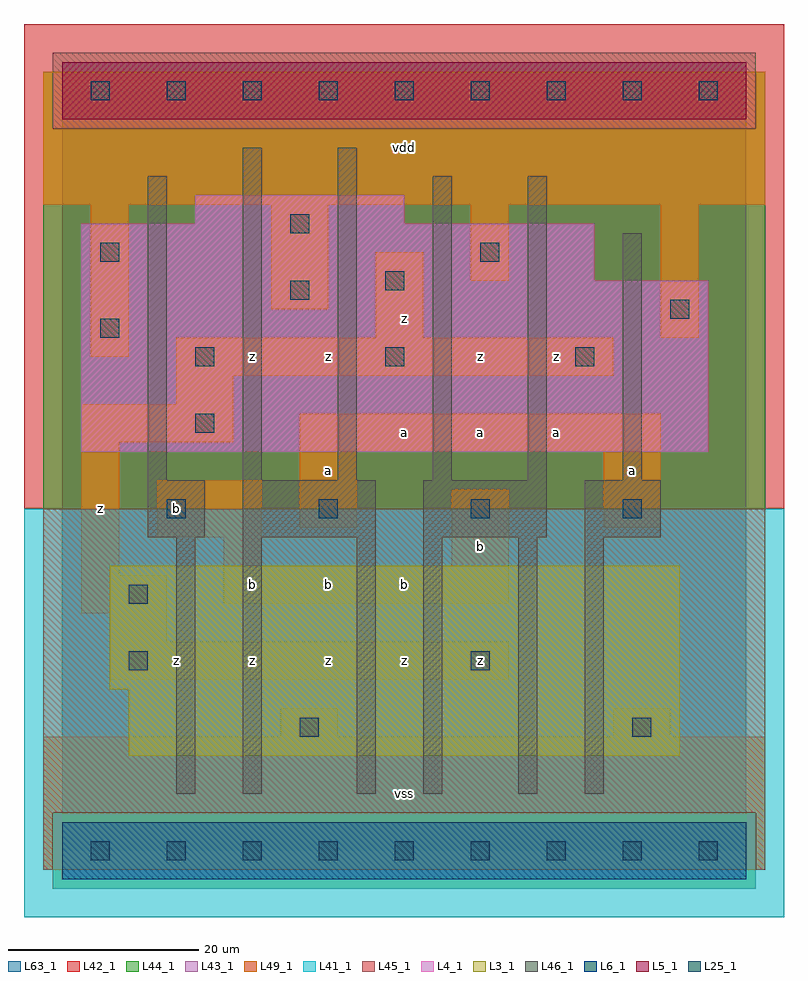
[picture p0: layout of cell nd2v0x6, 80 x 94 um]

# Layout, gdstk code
import gdstk
lib = gdstk.Library(unit=1e-6, precision=1e-09)
def R(c, l, rs):  # rectangles x0, y0, x1, y1
    for r in rs: c.add(gdstk.rectangle(r[:2], r[2:], *l))
def A(c, l, x, y, w, h, nx, ny, dx, dy):  # array of equal rectangles
    R(c, l, [(x+i*dx, y+j*dy, x+i*dx+w, y+j*dy+h) for i in range(nx) for j in range(ny)])
L3_1 = (3, 1)
L4_1 = (4, 1)
L5_1 = (5, 1)
L6_1 = (6, 1)
L25_1 = (25, 1)
L41_1 = (41, 1)
L42_1 = (42, 1)
L43_1 = (43, 1)
L44_1 = (44, 1)
L45_1 = (45, 1)
L46_1 = (46, 1)
L49_1 = (49, 1)
L63_1 = (63, 1)

nd2v0x6 = lib.new_cell('nd2v0x6')
R(nd2v0x6, L3_1, [(7,10,65,17), (5,17,65,30)])
R(nd2v0x6, L4_1, [(2,42,68,60), (2,60,56,66), (14,66,36,69)])
R(nd2v0x6, L5_1, [(0,77,72,83)])
R(nd2v0x6, L6_1, [(0,-3,72,3), (0,-3,72,3)])
A(nd2v0x6, L25_1, 3, -1, 2, 2, 9, 2, 8, 80)
A(nd2v0x6, L25_1, 11, 35, 2, 2, 4, 1, 16, 0)
A(nd2v0x6, L25_1, 14, 51, 2, 2, 3, 1, 20, 0)
R(nd2v0x6, L25_1, [(25,12,27,14), (60,12,62,14), (7,19,9,21), (43,19,45,21), (7,26,9,28), (14,44,16,46), (4,54,6,56), (64,56,66,58), (24,58,26,60), (34,59,36,61), (4,62,6,64), (44,62,46,64), (24,65,26,67)])
R(nd2v0x6, L41_1, [(-4,-7,76,36)])
R(nd2v0x6, L42_1, [(-4,36,76,87)])
R(nd2v0x6, L43_1, [(0,-3,72,3), (7,10,65,17), (5,17,65,30), (2,42,68,60), (2,60,56,66), (14,66,36,69), (0,77,72,83)])
R(nd2v0x6, L44_1, [(-1,-4,73,4), (-2,36,74,76), (-2,76,-1,82), (73,76,74,82)])
R(nd2v0x6, L45_1, [(-2,-2,-1,4), (73,-2,74,4), (-2,4,74,36), (-1,76,73,84)])
R(nd2v0x6, L46_1, [(12,6,14,33), (19,6,21,33), (31,6,33,33), (38,6,40,33), (48,6,50,33), (55,6,57,33), (9,33,15,39), (19,33,33,39), (38,33,51,39), (55,33,63,39), (9,39,11,71), (19,39,21,74), (29,39,31,74), (39,39,41,71), (49,39,51,71), (59,39,61,65)])
R(nd2v0x6, L49_1, [(-2,-2,74,12), (23,12,29,15), (58,12,64,15), (5,18,47,22), (5,22,11,25), (2,25,11,29), (17,26,47,30), (2,29,6,43), (17,30,21,33), (41,30,47,38), (10,33,21,39), (25,34,31,42), (57,34,63,42), (25,42,63,46), (2,43,18,47), (12,47,18,50), (12,50,58,54), (3,52,7,68), (33,54,38,63), (63,54,67,68), (22,57,28,68), (43,60,47,68), (-2,68,74,82)])
R(nd2v0x6, L63_1, [(0,0,72,80)])
nd2v0x6.add(gdstk.Label('z', (4,36), layer=49, texttype=1))
nd2v0x6.add(gdstk.Label('z', (12,20), layer=49, texttype=1))
nd2v0x6.add(gdstk.Label('b', (20,28), layer=49, texttype=1))
nd2v0x6.add(gdstk.Label('z', (20,20), layer=49, texttype=1))
nd2v0x6.add(gdstk.Label('b', (12,36), layer=49, texttype=1))
nd2v0x6.add(gdstk.Label('z', (20,52), layer=49, texttype=1))
nd2v0x6.add(gdstk.Label('vss', (36,6), layer=49, texttype=1))
nd2v0x6.add(gdstk.Label('b', (28,28), layer=49, texttype=1))
nd2v0x6.add(gdstk.Label('z', (28,20), layer=49, texttype=1))
nd2v0x6.add(gdstk.Label('b', (36,28), layer=49, texttype=1))
nd2v0x6.add(gdstk.Label('z', (36,20), layer=49, texttype=1))
nd2v0x6.add(gdstk.Label('a', (28,40), layer=49, texttype=1))
nd2v0x6.add(gdstk.Label('a', (36,44), layer=49, texttype=1))
nd2v0x6.add(gdstk.Label('z', (28,52), layer=49, texttype=1))
nd2v0x6.add(gdstk.Label('z', (36,56), layer=49, texttype=1))
nd2v0x6.add(gdstk.Label('vdd', (36,74), layer=49, texttype=1))
nd2v0x6.add(gdstk.Label('z', (44,20), layer=49, texttype=1))
nd2v0x6.add(gdstk.Label('b', (44,32), layer=49, texttype=1))
nd2v0x6.add(gdstk.Label('a', (44,44), layer=49, texttype=1))
nd2v0x6.add(gdstk.Label('a', (52,44), layer=49, texttype=1))
nd2v0x6.add(gdstk.Label('z', (52,52), layer=49, texttype=1))
nd2v0x6.add(gdstk.Label('z', (44,52), layer=49, texttype=1))
nd2v0x6.add(gdstk.Label('a', (60,40), layer=49, texttype=1))

lib.write_gds('nd2v0x6.gds')
